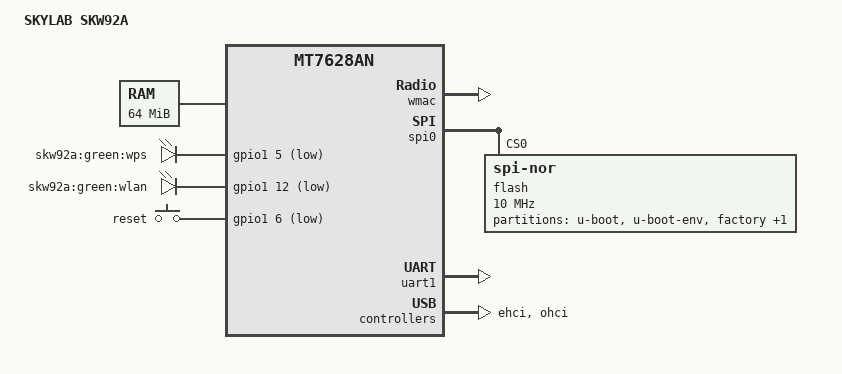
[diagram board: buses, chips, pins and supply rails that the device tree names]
// SPDX-License-Identifier: GPL-2.0-or-later OR MIT
/dts-v1/;

#include "mt7628an.dtsi"

#include <dt-bindings/gpio/gpio.h>
#include <dt-bindings/input/input.h>

/{
	compatible = "skylab,skw92a", "mediatek,mt7628an-soc";
	model = "SKYLAB SKW92A";

	aliases {
		led-boot = &led_power;
		led-failsafe = &led_power;
	};

	chosen {
		bootargs = "console=ttyS0,57600";
	};

	memory@0 {
		device_type = "memory";
		reg = <0x0 0x4000000>;
	};

	gpio-leds {
		compatible = "gpio-leds";

		led_power: wps {
			label = "skw92a:green:wps";
			gpios = <&gpio1 5 GPIO_ACTIVE_LOW>;
		};

		wlan {
			label = "skw92a:green:wlan";
			gpios = <&gpio1 12 GPIO_ACTIVE_LOW>;
		};
	};

	gpio-keys {
		compatible = "gpio-keys-polled";
		poll-interval = <20>;

		reset {
			label = "reset";
			gpios = <&gpio1 6 GPIO_ACTIVE_LOW>;
			linux,code = <KEY_RESTART>;
		};
	};
};

&pinctrl {
	state_default: pinctrl0 {
		gpio {
			ralink,group = "wdt", "refclk", "wled_an";
			ralink,function = "gpio";
		};
	};
};

&ethernet {
	mtd-mac-address = <&factory 0x28>;
};

&wmac {
	status = "okay";
	ralink,mtd-eeprom = <&factory 0x0>;
};

&spi0 {
	status = "okay";

	flash@0 {
		compatible = "jedec,spi-nor";
		reg = <0>;
		spi-max-frequency = <10000000>;
		m25p,chunked-io = <32>;

		partitions {
			compatible = "fixed-partitions";
			#address-cells = <1>;
			#size-cells = <1>;

			partition@0 {
				label = "u-boot";
				reg = <0x0 0x30000>;
				read-only;
			};

			partition@30000 {
				label = "u-boot-env";
				reg = <0x30000 0x10000>;
				read-only;
			};

			factory: partition@40000 {
				label = "factory";
				reg = <0x40000 0x10000>;
				read-only;
			};

			partition@50000 {
				label = "firmware";
				reg = <0x50000 0xfb0000>;
				compatible = "denx,uimage";
			};
		};
	};
};

&uart1 {
	status = "okay";
};

&ehci {
	status = "okay";
};

&ohci {
	status = "okay";
};
